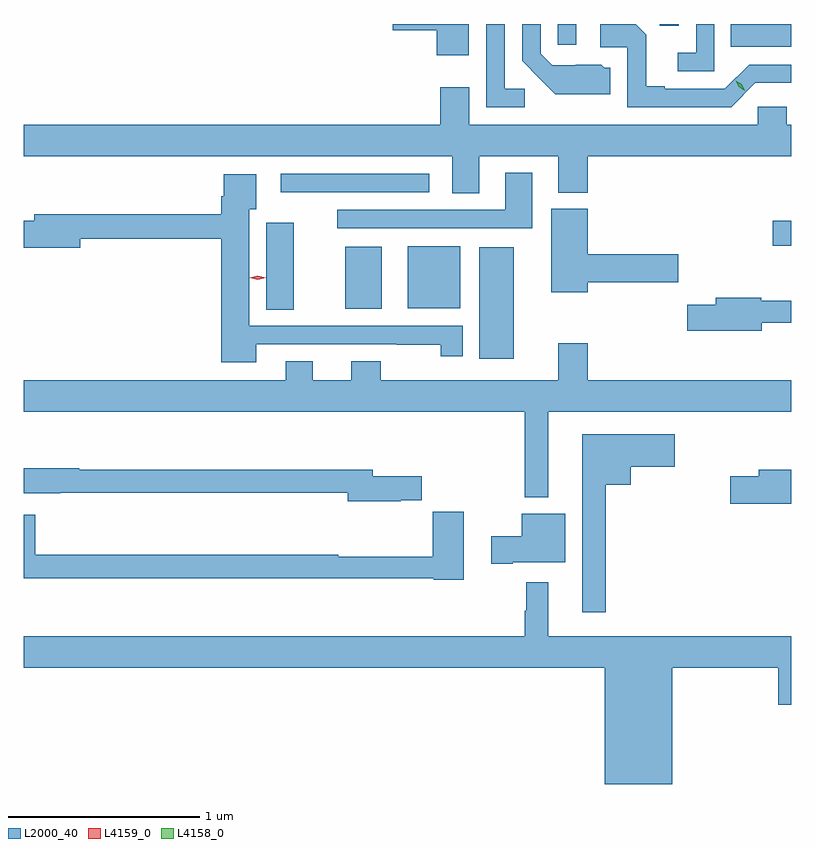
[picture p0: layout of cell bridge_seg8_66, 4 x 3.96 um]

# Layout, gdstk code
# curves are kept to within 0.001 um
import gdstk
lib = gdstk.Library(unit=1e-6, precision=1e-09)
def R(c, l, rs):  # rectangles x0, y0, x1, y1
    for r in rs: c.add(gdstk.rectangle(r[:2], r[2:], *l))
def P(c, l, *ps):  # polygons
    for p in ps: c.add(gdstk.Polygon(p, *l))
L2000_40 = (2000, 40)
L4158_0 = (4158, 0)
L4159_0 = (4159, 0)

bridge_seg8_66 = lib.new_cell('bridge_seg8_66')
R(bridge_seg8_66, L2000_40, [(1043.15,1100.792,1043.329,1101.373), (1042.04,1101.049,1042.183,1101.502), (1042.451,1101.053,1042.642,1101.376), (1042.778,1101.056,1043.05,1101.379), (1044.678,1101.383,1044.776,1101.513), (1042.116,1101.66,1042.888,1101.756), (1044.46,1102.418,1044.776,1102.537), (1043.559,1102.428,1043.655,1102.537), (1044.091,1102.528,1044.189,1102.537)])
P(bridge_seg8_66, L2000_40, [(1043.833,1102.308),(1043.802,1102.308),(1043.786,1102.324),(1043.529,1102.323),(1043.469,1102.383),(1043.469,1102.537),(1043.373,1102.537),(1043.373,1102.346),(1043.545,1102.172),(1043.833,1102.172)],
  [(1043.386,1102.2),(1043.283,1102.2),(1043.283,1102.537),(1043.187,1102.537),(1043.187,1102.104),(1043.386,1102.104)],
  [(1044.588,1102.23),(1044.776,1102.23),(1044.776,1102.326),(1044.555,1102.326),(1044.429,1102.2),(1044.115,1102.2),(1044.115,1102.213),(1044.021,1102.213),(1044.021,1102.48),(1043.964,1102.537),(1043.781,1102.537),(1043.781,1102.416),(1043.922,1102.416),(1043.922,1102.104),(1044.462,1102.104)],
  [(1044.375,1102.537),(1044.279,1102.537),(1044.279,1102.387),(1044.183,1102.387),(1044.183,1102.29),(1044.375,1102.29)],
  [(1043.095,1102.537),(1042.698,1102.537),(1042.698,1102.505),(1042.928,1102.505),(1042.928,1102.374),(1043.095,1102.374)],
  [(1043.149,1101.848),(1043.561,1101.848),(1043.561,1101.659),(1043.714,1101.659),(1043.714,1101.848),(1044.776,1101.848),(1044.776,1102.012),(1044.752,1102.012),(1044.752,1102.105),(1044.6,1102.105),(1044.6,1102.012),(1043.098,1102.012),(1043.098,1102.207),(1042.946,1102.207),(1042.946,1102.012),(1040.776,1102.012),(1040.776,1101.848),(1043.009,1101.848),(1043.009,1101.655),(1043.149,1101.655)],
  [(1043.425,1101.763),(1043.285,1101.763),(1043.285,1101.57),(1042.41,1101.57),(1042.41,1101.474),(1043.425,1101.474)],
  [(1041.988,1100.868),(1042.72,1100.868),(1042.72,1100.867),(1042.948,1100.867),(1042.948,1100.805),(1043.065,1100.805),(1043.065,1100.964),(1041.952,1100.964),(1041.952,1101.572),(1041.988,1101.572),(1041.988,1101.754),(1041.818,1101.754),(1041.818,1101.641),(1041.805,1101.641),(1041.805,1101.547),(1040.831,1101.547),(1040.831,1101.513),(1040.776,1101.513),(1040.776,1101.371),(1041.07,1101.371),(1041.07,1101.418),(1041.805,1101.418),(1041.805,1100.774),(1041.988,1100.774)],
  [(1043.716,1101.191),(1044.187,1101.191),(1044.187,1101.338),(1043.716,1101.338),(1043.716,1101.574),(1043.525,1101.574),(1043.525,1101.14),(1043.716,1101.14)],
  [(1044.622,1100.982),(1044.776,1100.982),(1044.776,1101.095),(1044.618,1101.095),(1044.618,1101.11),(1044.383,1101.11),(1044.383,1101.074),(1044.234,1101.074),(1044.234,1100.939),(1044.622,1100.939)],
  [(1043.509,1100.516),(1044.776,1100.516),(1044.776,1100.68),(1043.714,1100.68),(1043.714,1100.875),(1043.561,1100.875),(1043.561,1100.68),(1042.637,1100.68),(1042.637,1100.779),(1042.484,1100.779),(1042.484,1100.68),(1042.282,1100.68),(1042.282,1100.779),(1042.142,1100.779),(1042.142,1100.68),(1040.776,1100.68),(1040.776,1100.516),(1043.388,1100.516),(1043.388,1100.072),(1043.509,1100.072)],
  [(1043.809,1100.138),(1043.938,1100.138),(1043.938,1100.231),(1044.169,1100.231),(1044.169,1100.401),(1043.687,1100.401),(1043.687,1099.473),(1043.809,1099.473)],
  [(1042.742,1100.055),(1042.85,1100.055),(1042.85,1100.181),(1042.594,1100.181),(1042.594,1100.215),(1041.066,1100.215),(1041.066,1100.223),(1040.776,1100.223),(1040.776,1100.093),(1040.966,1100.093),(1040.966,1100.094),(1042.466,1100.094),(1042.466,1100.051),(1042.742,1100.051)],
  [(1044.776,1100.215),(1044.605,1100.215),(1044.605,1100.181),(1044.456,1100.181),(1044.456,1100.039),(1044.776,1100.039)],
  [(1043.068,1099.997),(1042.907,1099.997),(1042.907,1099.763),(1042.414,1099.763),(1042.414,1099.771),(1040.837,1099.771),(1040.837,1099.98),(1040.776,1099.98),(1040.776,1099.65),(1042.914,1099.65),(1042.914,1099.642),(1043.068,1099.642)],
  [(1043.323,1099.733),(1043.599,1099.733),(1043.599,1099.987),(1043.372,1099.987),(1043.372,1099.868),(1043.211,1099.868),(1043.211,1099.726),(1043.323,1099.726)],
  [(1044.154,1099.184),(1044.707,1099.184),(1044.707,1098.99),(1044.776,1098.99),(1044.776,1099.348),(1043.509,1099.348),(1043.509,1099.63),(1043.395,1099.63),(1043.395,1099.481),(1043.388,1099.481),(1043.388,1099.348),(1040.776,1099.348),(1040.776,1099.184),(1043.804,1099.184),(1043.804,1098.578),(1044.154,1098.578)])
P(bridge_seg8_66, L4158_0, [(1044.533,1102.189),(1044.502,1102.209),(1044.485,1102.242),(1044.485,1102.242),(1044.485,1102.242),(1044.516,1102.223),(1044.533,1102.19),(1044.533,1102.189)])
P(bridge_seg8_66, L4159_0, [(1041.997,1101.206),(1041.955,1101.214),(1041.955,1101.215),(1041.955,1101.215),(1041.996,1101.225),(1042.038,1101.216),(1042.038,1101.216),(1042.038,1101.216)])

lib.write_gds('bridge_seg8_66.gds')
